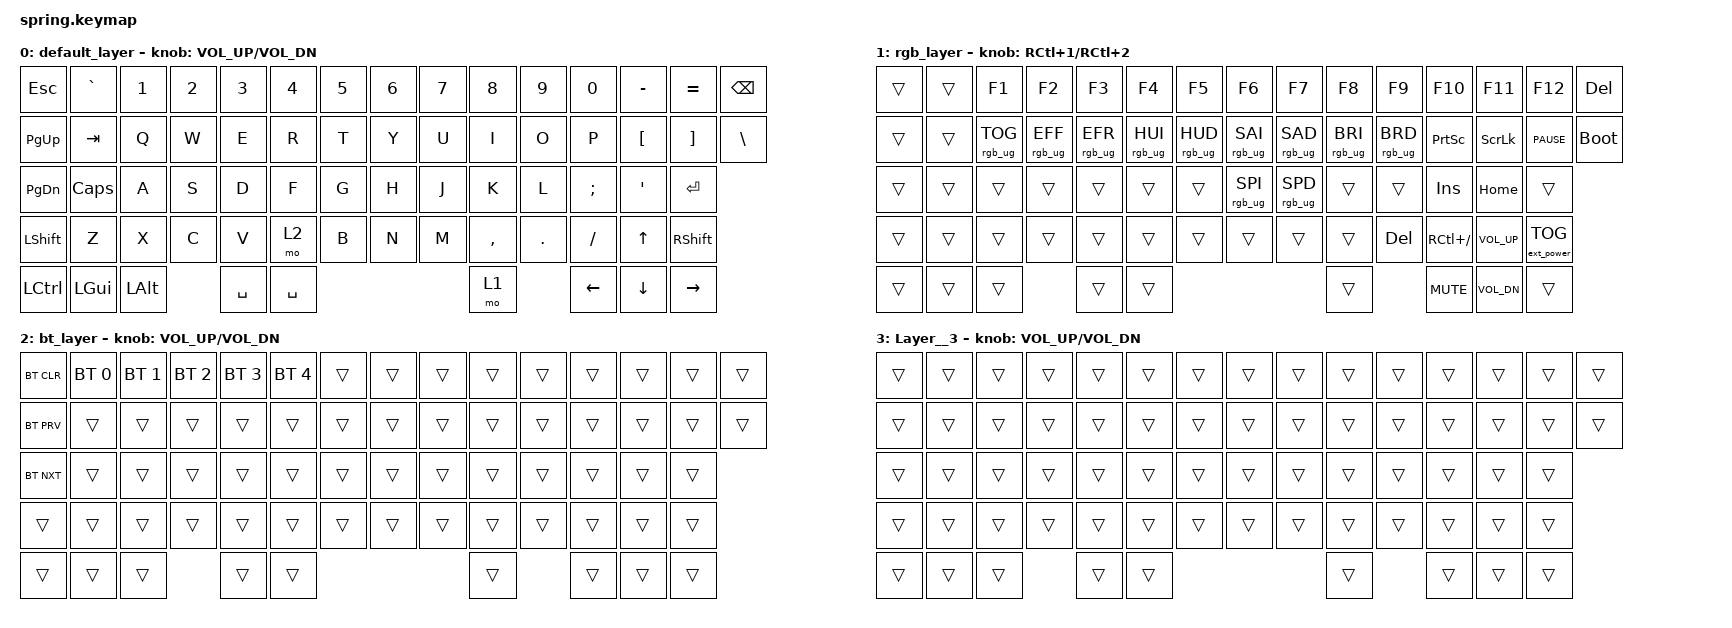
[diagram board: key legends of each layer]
/*
 * Copyright (c) 2021 Nick Winans
 *
 * SPDX-License-Identifier: MIT
 */

#include <behaviors.dtsi>
#include <dt-bindings/zmk/bt.h>
#include <dt-bindings/zmk/ext_power.h>
#include <dt-bindings/zmk/keys.h>
#include <dt-bindings/zmk/rgb.h>

/ {
    macros {
    };

    combos {
        compatible = "zmk,combos";
    };

    keymap {
        compatible = "zmk,keymap";

        default_layer {
            bindings = <
  &kp ESC  &kp GRAVE    &kp N1  &kp N2     &kp N3     &kp N4  &kp N5  &kp N6  &kp N7     &kp N8   &kp N9    &kp N0  &kp MINUS  &kp EQUAL  &kp BSPC
&kp PG_UP    &kp TAB     &kp Q   &kp W      &kp E      &kp R   &kp T   &kp Y   &kp U      &kp I    &kp O     &kp P   &kp LBKT   &kp RBKT  &kp BSLH
&kp PG_DN   &kp CLCK     &kp A   &kp S      &kp D      &kp F   &kp G   &kp H   &kp J      &kp K    &kp L  &kp SEMI    &kp SQT    &kp RET
&kp LSHFT      &kp Z     &kp X   &kp C      &kp V      &mo 2   &kp B   &kp N   &kp M  &kp COMMA  &kp DOT  &kp FSLH     &kp UP  &kp RSHFT
&kp LCTRL   &kp LGUI  &kp LALT          &kp SPACE  &kp SPACE                              &mo 1           &kp LEFT   &kp DOWN  &kp RIGHT
            >;

            sensor-bindings = <&inc_dec_kp C_VOL_UP C_VOL_DN>;
        };

        rgb_layer {
            bindings = <
&trans  &trans           &kp F1           &kp F2           &kp F3           &kp F4           &kp F5           &kp F6           &kp F7           &kp F8           &kp F9          &kp F10         &kp F11            &kp F12      &kp DEL
&trans  &trans  &rgb_ug RGB_TOG  &rgb_ug RGB_EFF  &rgb_ug RGB_EFR  &rgb_ug RGB_HUI  &rgb_ug RGB_HUD  &rgb_ug RGB_SAI  &rgb_ug RGB_SAD  &rgb_ug RGB_BRI  &rgb_ug RGB_BRD  &kp PRINTSCREEN  &kp SCROLLLOCK        &kp C_PAUSE  &bootloader
&trans  &trans           &trans           &trans           &trans           &trans           &trans  &rgb_ug RGB_SPI  &rgb_ug RGB_SPD           &trans           &trans          &kp INS        &kp HOME             &trans
&trans  &trans           &trans           &trans           &trans           &trans           &trans           &trans           &trans           &trans          &kp DEL    &kp RC(SLASH)    &kp C_VOL_UP  &ext_power EP_TOG
&trans  &trans           &trans                            &trans           &trans                                                              &trans                        &kp C_MUTE    &kp C_VOL_DN             &trans
            >;

            sensor-bindings = <&inc_dec_kp RC(N1) RC(N2)>;
        };

        bt_layer {
            bindings = <
&bt BT_CLR  &bt BT_SEL 0  &bt BT_SEL 1  &bt BT_SEL 2  &bt BT_SEL 3  &bt BT_SEL 4  &trans  &trans  &trans  &trans  &trans  &trans  &trans  &trans  &trans
&bt BT_PRV        &trans        &trans        &trans        &trans        &trans  &trans  &trans  &trans  &trans  &trans  &trans  &trans  &trans  &trans
&bt BT_NXT        &trans        &trans        &trans        &trans        &trans  &trans  &trans  &trans  &trans  &trans  &trans  &trans  &trans
    &trans        &trans        &trans        &trans        &trans        &trans  &trans  &trans  &trans  &trans  &trans  &trans  &trans  &trans
    &trans        &trans        &trans                      &trans        &trans                          &trans          &trans  &trans  &trans
            >;

            sensor-bindings = <&inc_dec_kp C_VOL_UP C_VOL_DN>;
        };

        Layer__3 {
            bindings = <
&trans  &trans  &trans  &trans  &trans  &trans  &trans  &trans  &trans  &trans  &trans  &trans  &trans  &trans  &trans
&trans  &trans  &trans  &trans  &trans  &trans  &trans  &trans  &trans  &trans  &trans  &trans  &trans  &trans  &trans
&trans  &trans  &trans  &trans  &trans  &trans  &trans  &trans  &trans  &trans  &trans  &trans  &trans  &trans
&trans  &trans  &trans  &trans  &trans  &trans  &trans  &trans  &trans  &trans  &trans  &trans  &trans  &trans
&trans  &trans  &trans          &trans  &trans                          &trans          &trans  &trans  &trans
            >;

            sensor-bindings = <&inc_dec_kp C_VOL_UP C_VOL_DN>;
        };
    };
};
